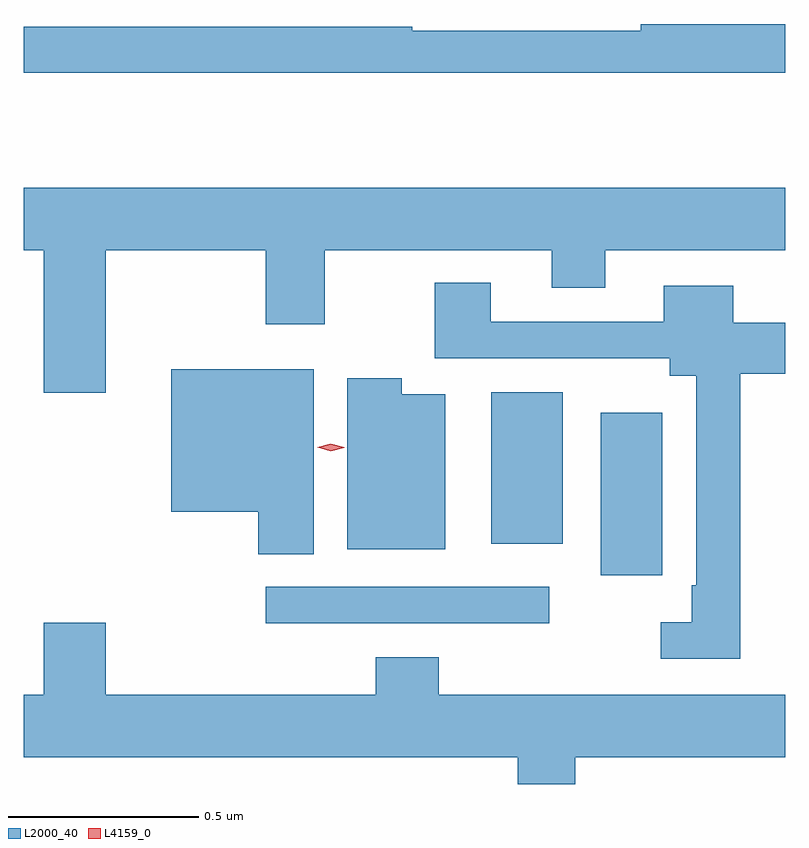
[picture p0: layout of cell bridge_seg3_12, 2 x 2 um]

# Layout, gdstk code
import gdstk
lib = gdstk.Library(unit=1e-6, precision=1e-09)
def R(c, l, rs):  # rectangles x0, y0, x1, y1
    for r in rs: c.add(gdstk.rectangle(r[:2], r[2:], *l))
def P(c, l, *ps):  # polygons
    for p in ps: c.add(gdstk.Polygon(p, *l))
L2000_40 = (2000, 40)
L4159_0 = (4159, 0)

bridge_seg3_12 = lib.new_cell('bridge_seg3_12')
R(bridge_seg3_12, L2000_40, [(753.003,745.224,753.748,745.32), (753.884,745.35,754.045,745.777), (753.596,745.433,753.784,745.831)])
P(bridge_seg3_12, L2000_40, [(754.368,746.798),(753.988,746.798),(753.988,746.78),(753.388,746.78),(753.388,746.791),(752.368,746.791),(752.368,746.67),(754.368,746.67)],
  [(752.584,746.204),(753.004,746.204),(753.004,746.01),(753.159,746.01),(753.159,746.204),(753.755,746.204),(753.755,746.105),(753.895,746.105),(753.895,746.204),(754.368,746.204),(754.368,746.368),(752.368,746.368),(752.368,746.204),(752.42,746.204),(752.42,745.83),(752.584,745.83)],
  [(754.25,745.88),(754.368,745.88),(754.368,746.014),(754.231,746.014),(754.231,746.11),(754.049,746.11),(754.049,746.016),(753.595,746.016),(753.595,746.119),(753.448,746.119),(753.448,745.92),(754.064,745.92),(754.064,745.874),(754.134,745.874),(754.134,745.324),(754.122,745.324),(754.122,745.227),(754.041,745.227),(754.041,745.131),(754.25,745.131)],
  [(753.13,745.891),(752.756,745.891),(752.756,745.517),(752.984,745.517),(752.984,745.405),(753.13,745.405)],
  [(753.475,745.825),(753.361,745.825),(753.361,745.867),(753.218,745.867),(753.218,745.418),(753.475,745.418)],
  [(753.817,744.872),(754.368,744.872),(754.368,745.036),(753.458,745.036),(753.458,745.135),(753.293,745.135),(753.293,745.036),(752.584,745.036),(752.584,745.225),(752.42,745.225),(752.42,745.036),(752.368,745.036),(752.368,744.872),(753.665,744.872),(753.665,744.802),(753.817,744.802)])
P(bridge_seg3_12, L4159_0, [(753.174,745.676),(753.139,745.686),(753.138,745.686),(753.139,745.687),(753.174,745.696),(753.21,745.686),(753.21,745.685),(753.21,745.685)])

lib.write_gds('bridge_seg3_12.gds')
